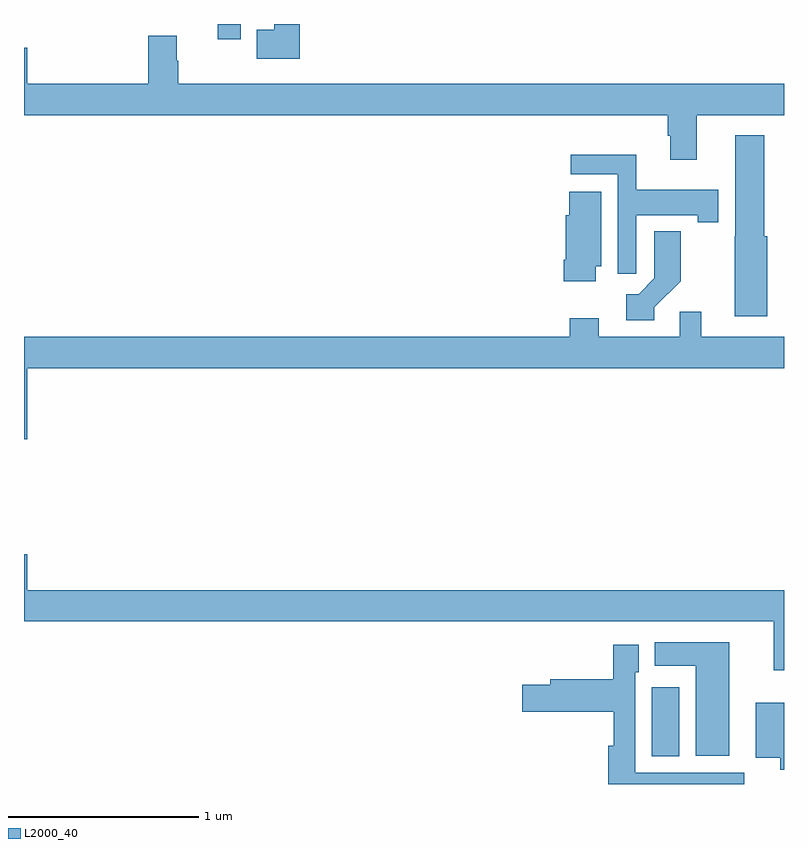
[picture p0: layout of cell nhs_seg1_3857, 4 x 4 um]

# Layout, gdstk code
import gdstk
lib = gdstk.Library(unit=1e-6, precision=1e-09)
def R(c, l, rs):  # rectangles x0, y0, x1, y1
    for r in rs: c.add(gdstk.rectangle(r[:2], r[2:], *l))
def P(c, l, *ps):  # polygons
    for p in ps: c.add(gdstk.Polygon(p, *l))
L2000_40 = (2000, 40)

nhs_seg1_3857 = lib.new_cell('nhs_seg1_3857')
R(nhs_seg1_3857, L2000_40, [(324.305,560.344,324.448,560.707), (322.019,564.12,322.141,564.199)])
P(nhs_seg1_3857, L2000_40, [(322.451,564.199),(322.316,564.199),(322.316,564.169),(322.226,564.169),(322.226,564.017),(322.451,564.017)],
  [(321.653,564.136),(321.653,563.884),(321.016,563.884),(321.016,564.073),(321,564.073),(321,563.72),(324.389,563.72),(324.389,563.61),(324.401,563.61),(324.401,563.484),(324.541,563.484),(324.541,563.72),(325,563.72),(325,563.884),(321.813,563.884),(321.813,564.005),(321.805,564.005),(321.805,564.136)],
  [(324.911,563.082),(324.896,563.082),(324.896,563.614),(324.743,563.614),(324.743,563.082),(324.74,563.082),(324.74,562.661),(324.911,562.661)],
  [(324.222,563.192),(324.546,563.192),(324.546,563.156),(324.654,563.156),(324.654,563.326),(324.223,563.326),(324.223,563.512),(323.877,563.512),(323.877,563.408),(324.126,563.408),(324.126,562.884),(324.222,562.884)],
  [(324.01,562.923),(324.037,562.923),(324.037,563.317),(323.87,563.317),(323.87,563.193),(323.852,563.193),(323.852,562.957),(323.84,562.957),(323.84,562.845),(324.01,562.845)],
  [(324.318,562.707),(324.457,562.846),(324.457,563.107),(324.318,563.107),(324.318,562.86),(324.235,562.777),(324.171,562.777),(324.171,562.641),(324.318,562.641)],
  [(321.016,562.388),(325,562.388),(325,562.552),(324.565,562.552),(324.565,562.684),(324.45,562.684),(324.45,562.552),(324.025,562.552),(324.025,562.651),(323.873,562.651),(323.873,562.552),(321,562.552),(321,562.014),(321.016,562.014)],
  [(325,561.22),(321.016,561.22),(321.016,561.409),(321,561.409),(321,561.056),(324.947,561.056),(324.947,560.799),(325,560.799)],
  [(324.712,560.944),(324.32,560.944),(324.32,560.822),(324.536,560.822),(324.536,560.348),(324.712,560.348)],
  [(324.79,560.259),(324.216,560.259),(324.216,560.787),(324.235,560.787),(324.235,560.932),(324.1,560.932),(324.1,560.751),(323.771,560.751),(323.771,560.721),(323.622,560.721),(323.622,560.579),(324.104,560.579),(324.104,560.401),(324.074,560.401),(324.074,560.199),(324.79,560.199)],
  [(325,560.626),(324.851,560.626),(324.851,560.336),(324.98,560.336),(324.98,560.274),(325,560.274)])

lib.write_gds('nhs_seg1_3857.gds')
